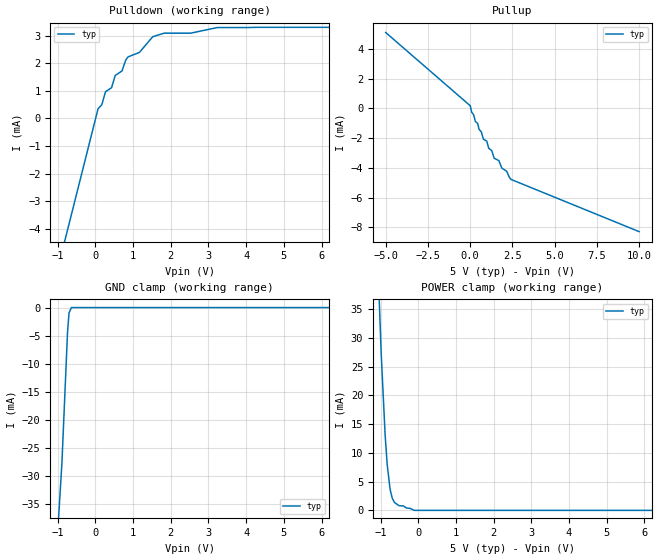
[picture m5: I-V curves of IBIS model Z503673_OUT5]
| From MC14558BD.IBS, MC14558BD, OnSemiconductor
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| (C) COPYRIGHT 1993-2000
| MENTOR GRAPHICS CORPORATION
| ICX STANDARD LIBRARY, ICX PROJECT MODELING,
| ICX CUSTOM MODELING, ICX VENDOR MODEL
| ALL RIGHTS RESERVED.
| THE FOLLOWING ARE TRADEMARKS OR SERVICE MARKS OF
| MENTOR GRAPHICS CORPORATION:ICX (R), ICX STANDARD
| LIBRARY(R), ICX PROJECT MODELING(R), ICX CUSTOM
| MODELING(R), qualityIBIS(TM), MODELVIEWER(TM),
| AND MODELEDITOR(TM)
| ALL COPIES OF SOFTWARE, INCLUDING BUT NOT LIMITED TO
| ANY MODIFICATIONS, ENHANCEMENTS OR DERIVATIVE WORKS,
| MUST CONTAIN ALL MENTOR GRAPHICS CORPORATION'S
| NOTICES AND LEGENDS, INCLUDING THOSE EMBEDDED IN
| SOFTWARE AND THOSE AFFIXED TO SOFTWARE MEDIUM
| AND CONTAINER, AS RECEIVED FROM MENTOR GRAPHICS
| CORPORATION.
| Model Application Version 1.89 2/18/99.
[Model] Z503673_OUT5
Model_type Output
Vref=0.000V
Rref=500.0Mohms
Cref=50.00pF
Vmeas=2.500V
C_comp 8.000pF NA NA
| variable typ   min   max
[Voltage Range] 5.000V NA NA
[POWER Clamp Reference] 5.000V NA NA
[Pullup Reference] 5.000V NA NA
[Pulldown Reference] 0.000V NA NA
[GND Clamp Reference] 0.000V NA NA
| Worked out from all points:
|   slope of the pulldown table from 0 to 0.75 V, typ, clamps not added: 389 ohm
|   slope of the pullup table from 0 to 0.75 V, typ, clamps not added: 353 ohm
|   GND clamp passes 1 mA (typ) near -0.70 V on its own axis
|   POWER clamp passes 1 mA (typ) near -0.55 V on its own axis
[GND Clamp]
-5V       -431.9mA   NA         NA
-1.05V    -45.24mA   NA         NA
-891.8mV  -27.81mA   NA         NA
-742.2mV  -4.426mA   NA         NA
-702.9mV  -983.1uA   NA         NA
-639mV    0A         NA         NA
10V       0A         NA         NA
[Pulldown]
-5V       -27.18mA   NA         NA
68.13mV   350.5uA    NA         NA
167.7mV   495.8uA    NA         NA
265.9mV   968.3uA    NA         NA
427.1mV   1.116mA    NA         NA
523.3mV   1.558mA    NA         NA
703.1mV   1.724mA    NA         NA
864mV     2.234mA    NA         NA
1.166V    2.397mA    NA         NA
1.521V    2.968mA    NA         NA
3.233V    3.3mA      NA         NA
10V       3.308mA    NA         NA
[Pullup]
-5V       5.109mA    NA         NA
5mV       181uA      NA         NA
87mV      -245.9uA   NA         NA
781mV     -2.064mA   NA         NA
981mV     -2.199mA   NA         NA
1.096V    -2.679mA   NA         NA
1.416V    -3.344mA   NA         NA
1.695V    -3.507mA   NA         NA
1.875V    -4.014mA   NA         NA
2.158V    -4.22mA    NA         NA
2.414V    -4.772mA   NA         NA
10V       -8.285mA   NA         NA
[POWER Clamp]
-5V       885.9mA    NA         NA
-1.152V   57.31mA    NA         NA
-983mV    27.13mA    NA         NA
-879mV    13.04mA    NA         NA
-825mV    7.98mA     NA         NA
-747mV    3.614mA    NA         NA
-689mV    2.095mA    NA         NA
-632mV    1.37mA     NA         NA
-512mV    816.9uA    NA         NA
-395mV    769.1uA    NA         NA
-107.5mV  0A         NA         NA
10V       0A         NA         NA
[Ramp]
| variable typ min max
dV/dt_r 2.581/11.49n NA NA
dV/dt_f 2.581/13.78n NA NA
R_load = 2.500kOhms
